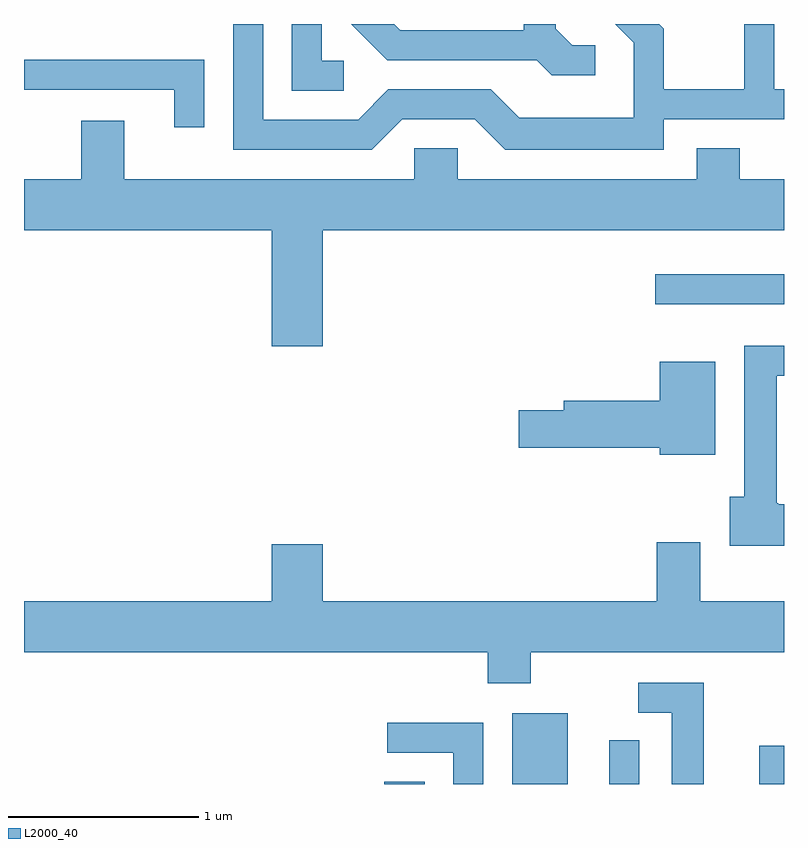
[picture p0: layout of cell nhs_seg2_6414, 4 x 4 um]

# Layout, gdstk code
import gdstk
lib = gdstk.Library(unit=1e-6, precision=1e-09)
def R(c, l, rs):  # rectangles x0, y0, x1, y1
    for r in rs: c.add(gdstk.rectangle(r[:2], r[2:], *l))
def P(c, l, *ps):  # polygons
    for p in ps: c.add(gdstk.Polygon(p, *l))
L2000_40 = (2000, 40)

nhs_seg2_6414 = lib.new_cell('nhs_seg2_6414')
R(nhs_seg2_6414, L2000_40, [(375.506,1089.802,375.719,1089.814), (376.181,1089.802,376.474,1090.174), (376.691,1089.802,376.849,1090.033), (377.481,1089.802,377.611,1090.004), (376.933,1092.326,377.611,1092.484)])
P(nhs_seg2_6414, L2000_40, [(376.618,1093.689),(376.497,1093.689),(376.409,1093.777),(376.409,1093.802),(376.241,1093.802),(376.241,1093.769),(375.592,1093.769),(375.559,1093.802),(375.333,1093.802),(375.524,1093.611),(376.309,1093.611),(376.389,1093.531),(376.618,1093.531)],
  [(375.293,1093.609),(375.179,1093.609),(375.179,1093.802),(375.021,1093.802),(375.021,1093.451),(375.293,1093.451)],
  [(375.602,1093.301),(375.984,1093.301),(376.144,1093.141),(376.979,1093.141),(376.979,1093.301),(377.611,1093.301),(377.611,1093.459),(377.559,1093.459),(377.559,1093.802),(377.401,1093.802),(377.401,1093.459),(376.979,1093.459),(376.979,1093.777),(376.954,1093.802),(376.723,1093.802),(376.821,1093.704),(376.821,1093.309),(376.217,1093.309),(376.067,1093.459),(375.529,1093.459),(375.369,1093.299),(374.869,1093.299),(374.869,1093.802),(374.711,1093.802),(374.711,1093.141),(375.442,1093.141)],
  [(374.559,1093.614),(373.611,1093.614),(373.611,1093.456),(374.401,1093.456),(374.401,1093.258),(374.559,1093.258)],
  [(375.184,1092.716),(377.611,1092.716),(377.611,1092.984),(377.379,1092.984),(377.379,1093.149),(377.151,1093.149),(377.151,1092.984),(375.894,1092.984),(375.894,1093.149),(375.666,1093.149),(375.666,1092.984),(374.139,1092.984),(374.139,1093.294),(373.911,1093.294),(373.911,1092.984),(373.611,1092.984),(373.611,1092.716),(374.916,1092.716),(374.916,1092.106),(375.184,1092.106)],
  [(377.611,1091.274),(377.58,1091.274),(377.58,1091.28),(377.574,1091.28),(377.574,1091.951),(377.611,1091.951),(377.611,1092.109),(377.401,1092.109),(377.401,1091.314),(377.326,1091.314),(377.326,1091.056),(377.611,1091.056)],
  [(377.249,1092.024),(376.956,1092.024),(376.956,1091.819),(376.451,1091.819),(376.451,1091.769),(376.216,1091.769),(376.216,1091.571),(376.956,1091.571),(376.956,1091.536),(377.249,1091.536)],
  [(376.279,1090.496),(377.611,1090.496),(377.611,1090.764),(377.169,1090.764),(377.169,1091.074),(376.941,1091.074),(376.941,1090.764),(375.184,1090.764),(375.184,1091.064),(374.916,1091.064),(374.916,1090.764),(373.611,1090.764),(373.611,1090.496),(376.051,1090.496),(376.051,1090.331),(376.279,1090.331)],
  [(377.189,1090.334),(376.843,1090.334),(376.843,1090.176),(377.021,1090.176),(377.021,1089.802),(377.189,1089.802)],
  [(376.029,1090.124),(375.523,1090.124),(375.523,1089.966),(375.871,1089.966),(375.871,1089.802),(376.029,1089.802)])

lib.write_gds('nhs_seg2_6414.gds')
